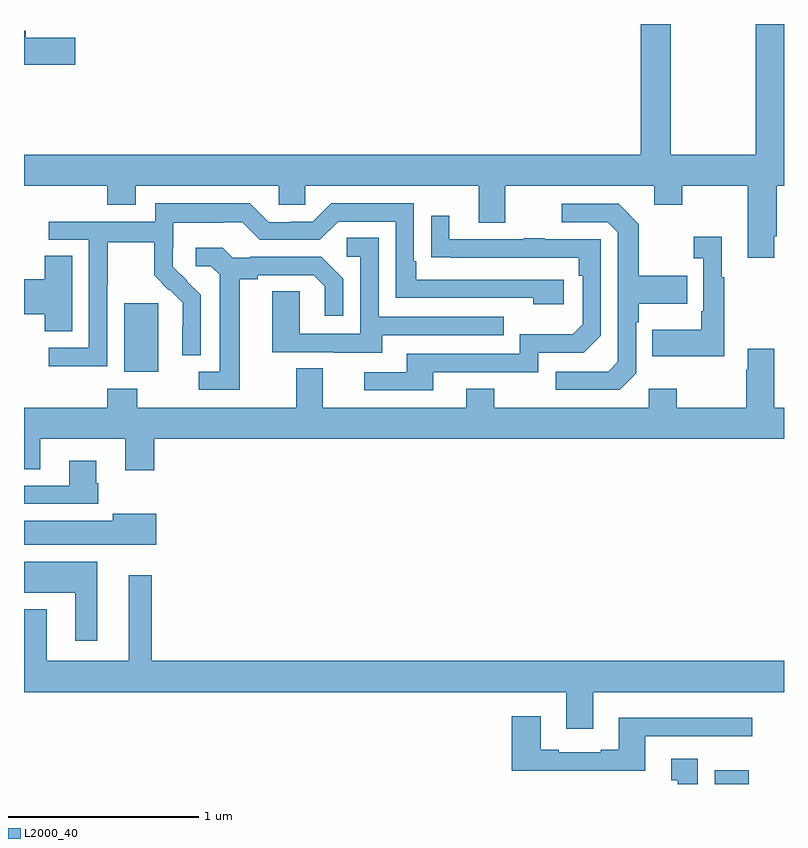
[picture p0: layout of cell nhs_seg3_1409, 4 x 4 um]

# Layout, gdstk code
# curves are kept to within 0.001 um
import gdstk
lib = gdstk.Library(unit=1e-6, precision=1e-09)
def R(c, l, rs):  # rectangles x0, y0, x1, y1
    for r in rs: c.add(gdstk.rectangle(r[:2], r[2:], *l))
def P(c, l, *ps):  # polygons
    for p in ps: c.add(gdstk.Polygon(p, *l))
L2000_40 = (2000, 40)

nhs_seg3_1409 = lib.new_cell('nhs_seg3_1409')
R(nhs_seg3_1409, L2000_40, [(186.635,732.4,186.814,732.472), (183.527,734.57,183.706,734.931)])
P(nhs_seg3_1409, L2000_40, [(183,735.548),(183.437,735.548),(183.437,735.449),(183.589,735.449),(183.589,735.548),(184.341,735.548),(184.341,735.45),(184.479,735.45),(184.479,735.548),(185.393,735.548),(185.393,735.354),(185.533,735.354),(185.533,735.548),(186.317,735.548),(186.317,735.449),(186.465,735.449),(186.465,735.548),(186.809,735.548),(186.809,735.171),(186.949,735.171),(186.949,735.283),(186.962,735.283),(186.962,735.548),(187,735.548),(187,736.4),(186.85,736.4),(186.85,735.712),(186.405,735.712),(186.405,736.4),(186.245,736.4),(186.245,735.712),(183,735.712)],
  [(183.271,736.328),(183.01,736.328),(183.01,736.364),(183,736.364),(183,736.186),(183.271,736.186)],
  [(183.438,735.028),(183.441,735.028),(183.441,735.252),(183.685,735.252),(183.685,735.077),(183.762,735),(183.765,735.003),(183.836,734.933),(183.836,734.81),(183.834,734.81),(183.834,734.656),(183.93,734.656),(183.93,734.974),(183.784,735.122),(183.784,735.219),(183.786,735.219),(183.786,735.353),(184.049,735.353),(184.049,735.357),(184.149,735.357),(184.242,735.264),(184.557,735.264),(184.653,735.36),(184.956,735.36),(184.956,734.958),(185.681,734.958),(185.681,734.924),(185.842,734.924),(185.842,735.054),(185.065,735.054),(185.065,735.151),(185.052,735.151),(185.052,735.456),(184.617,735.456),(184.521,735.36),(184.403,735.36),(184.403,735.357),(184.287,735.357),(184.187,735.457),(183.69,735.457),(183.69,735.36),(183.129,735.36),(183.129,735.264),(183.342,735.264),(183.342,734.697),(183.129,734.697),(183.129,734.599),(183.438,734.599)],
  [(186.222,734.562),(186.222,734.831),(186.235,734.831),(186.235,734.927),(186.491,734.927),(186.491,735.075),(186.235,735.075),(186.235,735.347),(186.129,735.453),(185.829,735.453),(185.829,735.357),(186.072,735.357),(186.126,735.303),(186.126,734.622),(186.075,734.571),(185.799,734.571),(185.799,734.475),(186.135,734.475)],
  [(185.155,734.568),(185.706,734.568),(185.706,734.67),(185.946,734.67),(186.036,734.76),(186.036,735.267),(185.741,735.267),(185.741,735.272),(185.629,735.272),(185.629,735.267),(185.239,735.267),(185.239,735.391),(185.143,735.391),(185.143,735.172),(185.92,735.171),(185.92,735.074),(185.94,735.074),(185.94,734.82),(185.887,734.767),(185.61,734.767),(185.61,734.664),(185.015,734.664),(185.015,734.568),(184.791,734.568),(184.791,734.472),(185.155,734.472)],
  [(186.685,735.067),(186.673,735.067),(186.673,735.28),(186.525,735.28),(186.525,735.167),(186.576,735.167),(186.576,734.887),(186.564,734.887),(186.564,734.791),(186.307,734.791),(186.307,734.651),(186.685,734.651)],
  [(184.885,734.763),(185.525,734.763),(185.525,734.859),(184.866,734.859),(184.866,735.275),(184.698,735.275),(184.698,735.174),(184.77,735.174),(184.77,734.769),(184.452,734.769),(184.452,734.993),(184.307,734.993),(184.307,734.673),(184.631,734.673),(184.631,734.669),(184.885,734.669)],
  [(184.135,735.056),(184.231,735.056),(184.231,735.078),(184.526,735.078),(184.583,735.021),(184.583,734.865),(184.68,734.865),(184.68,735.058),(184.564,735.174),(184.192,735.174),(184.192,735.171),(184.098,735.171),(184.046,735.223),(183.903,735.223),(183.903,735.126),(183.984,735.126),(184.031,735.079),(184.031,734.571),(183.921,734.571),(183.921,734.475),(184.135,734.475)],
  [(183.253,735.179),(183.11,735.179),(183.11,735.056),(183,735.056),(183,734.873),(183.11,734.873),(183.11,734.782),(183.253,734.782)],
  [(183.686,734.216),(187,734.216),(187,734.38),(186.949,734.38),(186.949,734.692),(186.809,734.692),(186.809,734.579),(186.802,734.579),(186.802,734.38),(186.435,734.38),(186.435,734.479),(186.288,734.479),(186.288,734.38),(185.475,734.38),(185.475,734.479),(185.327,734.479),(185.327,734.38),(184.573,734.38),(184.573,734.588),(184.433,734.588),(184.433,734.38),(183.597,734.38),(183.597,734.479),(183.437,734.479),(183.437,734.38),(183,734.38),(183,734.056),(183.085,734.056),(183.085,734.216),(183.533,734.216),(183.533,734.052),(183.686,734.052)],
  [(183.392,733.983),(183.379,733.983),(183.379,734.101),(183.239,734.101),(183.239,733.971),(183,733.971),(183,733.875),(183.392,733.875)],
  [(183.697,733.822),(183.467,733.822),(183.467,733.786),(183,733.786),(183,733.658),(183.697,733.658)],
  [(183.385,733.57),(183,733.57),(183,733.406),(183.269,733.406),(183.269,733.155),(183.385,733.155)],
  [(185.995,732.884),(187,732.884),(187,733.048),(183.673,733.048),(183.673,733.498),(183.551,733.498),(183.551,733.048),(183.121,733.048),(183.121,733.321),(183,733.321),(183,732.884),(185.855,732.884),(185.855,732.69),(185.995,732.69)],
  [(186.271,732.651),(186.832,732.651),(186.832,732.748),(186.131,732.748),(186.131,732.58),(186.035,732.58),(186.035,732.567),(185.815,732.567),(185.815,732.58),(185.719,732.58),(185.719,732.757),(185.567,732.757),(185.567,732.47),(186.271,732.47)],
  [(186.547,732.532),(186.407,732.532),(186.407,732.419),(186.44,732.419),(186.44,732.4),(186.547,732.4)])

lib.write_gds('nhs_seg3_1409.gds')
